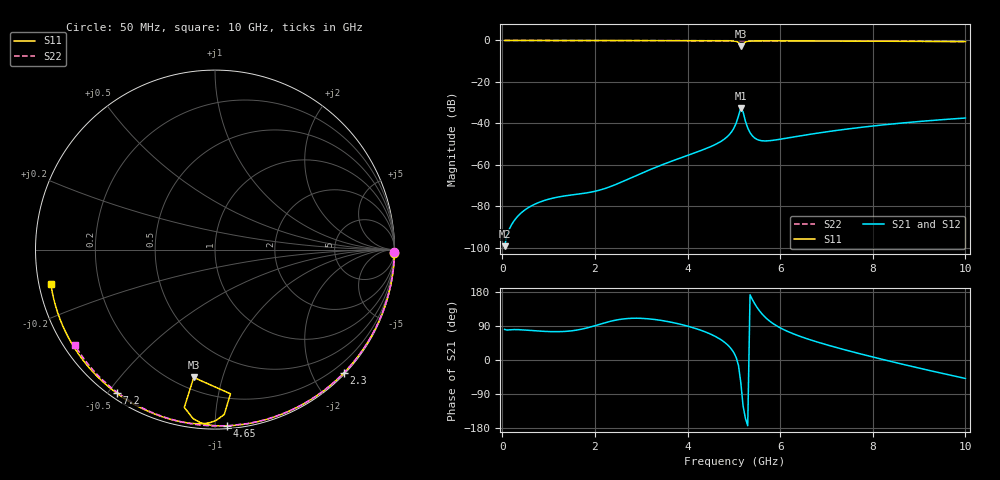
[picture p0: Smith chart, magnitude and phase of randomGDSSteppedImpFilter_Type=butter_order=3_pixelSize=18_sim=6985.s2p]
! freq	dB(S11)	phase(S11)	dB(S12)	phase(S12)
!  dB(S21)	phase(S21)	dB(S22)	phase(S22)
!S-par simulation data
#  GHz  S  DB  R 50
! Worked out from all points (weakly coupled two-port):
!   200 points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, 50 MHz to 10 GHz, reference 50 ohm
!   highest |S21| = -32.61 dB at 5.15 GHz (marker M1); lowest = -99.2 dB at 50 MHz (marker M2)
!   lowest |S11| = -2.8 dB at 5.15 GHz (marker M3), VSWR 6.20, Z = 13.6 - j40.5 ohm
!   |S11| at or under -10 dB: nowhere
!   |S22| runs from -0.5 to 0.0 dB; largest |S21 - S12| = 0
!   S11 on the Smith chart (normalised r, x): 50 MHz: open; 2.3 GHz: 0.02, -2.49; 4.65 GHz: 0.02, -1.07; 7.2 GHz: 0.02, -0.53; 10 GHz: 0.03, -0.10
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0.05  -0.00 -1.0  -99.25 80.7  -99.25 80.7  -0.00 -0.8
0.6  -0.01 -11.7  -80.16 78.1  -80.16 78.1  -0.01 -10.1
1.05  -0.02 -20.3  -76.30 74.9  -76.30 74.9  -0.02 -17.7
1.75  -0.04 -33.6  -73.79 82.4  -73.79 82.4  -0.04 -29.2
2.3  -0.06 -43.8  -70.78 101.0  -70.78 101.0  -0.05 -38.1
3.4  -0.08 -63.7  -60.43 105.1  -60.43 105.1  -0.07 -55.5
4.65  -0.14 -86.1  -49.62 58.9  -49.62 58.9  -0.11 -74.3
4.9  -0.19 -91.6  -45.49 35.6  -45.49 35.6  -0.12 -77.9
5  -0.29 -94.9  -42.33 19.3  -42.33 19.3  -0.12 -79.4
5.05  -0.45 -97.4  -39.89 6.7  -39.89 6.7  -0.12 -80.1
5.1  -0.96 -101.0  -36.44 -14.2  -36.44 -14.2  -0.13 -80.9
5.15  -2.83 -99.4  -32.61 -59.2  -32.61 -59.2  -0.15 -81.6
5.2  -1.85 -83.9  -34.52 -121.3  -34.52 -121.3  -0.15 -82.2
5.25  -0.72 -86.8  -38.98 -154.1  -38.98 -154.1  -0.14 -82.9
5.35  -0.31 -91.8  -44.49 172.1  -44.49 172.1  -0.14 -84.3
5.45  -0.23 -94.8  -47.07 148.6  -47.07 148.6  -0.14 -85.7
5.55  -0.21 -97.1  -48.15 130.3  -48.15 130.3  -0.14 -87.2
5.8  -0.19 -101.8  -48.30 100.1  -48.30 100.1  -0.15 -90.7
6.7  -0.24 -116.5  -45.08 51.3  -45.08 51.3  -0.20 -103.0
7.2  -0.27 -124.3  -43.46 33.4  -43.46 33.4  -0.23 -109.6
8.35  -0.37 -142.0  -40.45 -2.6  -40.45 -2.6  -0.32 -124.6
10  -0.59 -168.0  -37.42 -48.7  -37.42 -48.7  -0.49 -145.8
